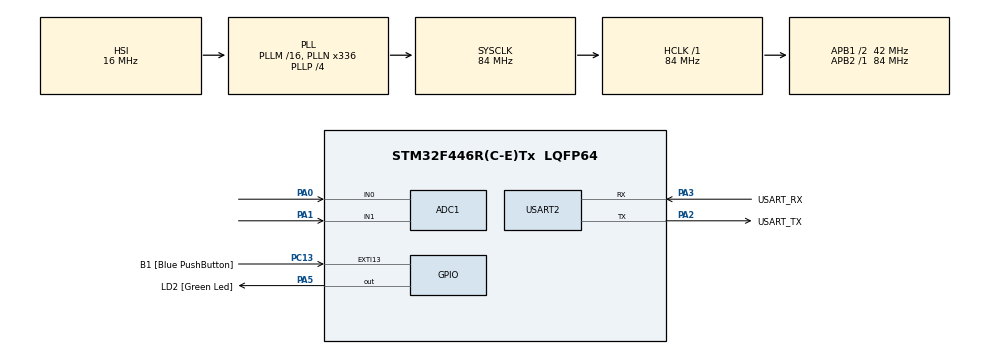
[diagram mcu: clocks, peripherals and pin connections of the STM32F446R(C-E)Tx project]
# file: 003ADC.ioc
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ADC1.Channel-0\#ChannelRegularConversion=ADC_CHANNEL_0
ADC1.Channel-1\#ChannelRegularConversion=ADC_CHANNEL_1
ADC1.ContinuousConvMode=ENABLE
ADC1.NbrOfConversion=2
ADC1.NbrOfConversionFlag=1
ADC1.Rank-0\#ChannelRegularConversion=1
ADC1.Rank-1\#ChannelRegularConversion=2
ADC1.SamplingTime-0\#ChannelRegularConversion=ADC_SAMPLETIME_3CYCLES
ADC1.SamplingTime-1\#ChannelRegularConversion=ADC_SAMPLETIME_3CYCLES
ADC1.ScanConvMode=ENABLE
ADC1.master=1
Dma.ADC1.0.Direction=DMA_PERIPH_TO_MEMORY
Dma.ADC1.0.FIFOMode=DMA_FIFOMODE_DISABLE
Dma.ADC1.0.Instance=DMA2_Stream0
Dma.ADC1.0.MemDataAlignment=DMA_MDATAALIGN_WORD
Dma.ADC1.0.MemInc=DMA_MINC_ENABLE
Dma.ADC1.0.Mode=DMA_CIRCULAR
Dma.ADC1.0.PeriphDataAlignment=DMA_PDATAALIGN_WORD
Dma.ADC1.0.PeriphInc=DMA_PINC_DISABLE
Dma.ADC1.0.Priority=DMA_PRIORITY_LOW
Dma.Request0=ADC1
Mcu.Family=STM32F4
Mcu.Name=STM32F446R(C-E)Tx
Mcu.Package=LQFP64
NVIC.DMA2_Stream0_IRQn=true\:0\:0\:false\:false\:true\:false\:true
NVIC.PriorityGroup=NVIC_PRIORITYGROUP_0
PA0-WKUP.Signal=ADCx_IN0
PA1.Signal=ADCx_IN1
PA13.GPIO_Label=TMS
PA13.Mode=Serial_Wire
PA13.Signal=SYS_JTMS-SWDIO
PA14.GPIO_Label=TCK
PA14.Mode=Serial_Wire
PA14.Signal=SYS_JTCK-SWCLK
PA2.GPIO_Label=USART_TX
PA2.Mode=Asynchronous
PA2.Signal=USART2_TX
PA3.GPIO_Label=USART_RX
PA3.Mode=Asynchronous
PA3.Signal=USART2_RX
PA5.GPIO_Label=LD2 [Green Led]
PA5.Signal=GPIO_Output
PB3.GPIO_Label=SWO
PB3.Signal=SYS_JTDO-SWO
PC13.GPIO_Label=B1 [Blue PushButton]
PC13.GPIO_ModeDefaultEXTI=GPIO_MODE_IT_FALLING
PC13.Signal=GPXTI13
PC14-OSC32_IN.Mode=LSE-External-Oscillator
PC14-OSC32_IN.Signal=RCC_OSC32_IN
PC15-OSC32_OUT.Mode=LSE-External-Oscillator
PC15-OSC32_OUT.Signal=RCC_OSC32_OUT
PH0-OSC_IN.Mode=HSE-External-Oscillator
PH0-OSC_IN.Signal=RCC_OSC_IN
PH1-OSC_OUT.Mode=HSE-External-Oscillator
PH1-OSC_OUT.Signal=RCC_OSC_OUT
ProjectManager.HeapSize=0x200
ProjectManager.StackSize=0x400
ProjectManager.TargetToolchain=SW4STM32
RCC.48MHZClocksFreq_Value=84000000
RCC.AHBFreq_Value=84000000
RCC.APB1CLKDivider=RCC_HCLK_DIV2
RCC.APB1Freq_Value=42000000
RCC.APB1TimFreq_Value=84000000
RCC.APB2Freq_Value=84000000
RCC.APB2TimFreq_Value=84000000
RCC.CortexFreq_Value=84000000
RCC.FLatency-AdvancedSettings=FLASH_LATENCY_2
RCC.HCLKFreq_Value=84000000
RCC.HSE_VALUE=8000000
RCC.HSI_VALUE=16000000
RCC.PLLN=336
RCC.PLLP=RCC_PLLP_DIV4
RCC.SYSCLKFreq_VALUE=84000000
RCC.SYSCLKSource=RCC_SYSCLKSOURCE_PLLCLK
RCC.USBFreq_Value=168000000
RCC.VCOOutputFreq_Value=336000000
SH.ADCx_IN0.0=ADC1_IN0,IN0
SH.ADCx_IN1.0=ADC1_IN1,IN1
USART2.VirtualMode=VM_ASYNC
board=NUCLEO-F446RE

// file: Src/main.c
/* USER CODE BEGIN Header */
/**
  ******************************************************************************
  * @file           : main.c
  * @brief          : Main program body
  ******************************************************************************
  * @attention
  *
  * <h2><center>&copy; Copyright (c) 2019 STMicroelectronics.
  * All rights reserved.</center></h2>
  *
  * This software component is licensed by ST under BSD 3-Clause license,
  * the "License"; You may not use this file except in compliance with the
  * License. You may obtain a copy of the License at:
  *                        opensource.org/licenses/BSD-3-Clause
  *
  ******************************************************************************
  */
/* USER CODE END Header */

#include "main.h"

ADC_HandleTypeDef hadc1;
DMA_HandleTypeDef hdma_adc1;

UART_HandleTypeDef huart2;

void SystemClock_Config(void);
static void MX_GPIO_Init(void);
static void MX_DMA_Init(void);
static void MX_ADC1_Init(void);
static void MX_USART2_UART_Init(void);

uint8_t adc_value1,adc_value2, vol1,vol2;
uint32_t value[2];
int main(void)
{

  /* MCU Configuration--------------------------------------------------------*/

  /* Reset of all peripherals, Initializes the Flash interface and the Systick. */
  HAL_Init();

  /* Configure the system clock */
  SystemClock_Config();

  /* Initialize all configured peripherals */
  MX_GPIO_Init();
  MX_DMA_Init();
  MX_ADC1_Init();
  MX_USART2_UART_Init();

  /* Infinite loop */
  /* USER CODE BEGIN WHILE */

    HAL_ADC_Start(&hadc1);  //start polling mode

    HAL_ADC_Start_DMA (&hadc1, &value, 2); //start dma mode
  while (1)
  {
    /* USER CODE END WHILE */

    /* USER CODE BEGIN 3 */

	//polling mode

	HAL_ADC_PollForConversion (&hadc1, 100);
	adc_value1 = HAL_ADC_GetValue (&hadc1);

	HAL_ADC_PollForConversion (&hadc1, 100);
	adc_value2 = HAL_ADC_GetValue (&hadc1);

	vol1=adc_value1*(3.3/4095);
	vol2=adc_value2*(3.3/4095);

	HAL_Delay(100);

	HAL_UART_Transmit(&huart2,vol1,40,1);
	HAL_UART_Transmit(&huart2,vol2,40,1);

	//dma mode
	adc_value1=value[0];
	adc_value2=value[1];
	vol1=adc_value1*(3.3/4095);
	vol2=adc_value2*(3.3/4095);

  }
  /* USER CODE END 3 */
}

void SystemClock_Config(void)
{
  RCC_OscInitTypeDef RCC_OscInitStruct = {0};
  RCC_ClkInitTypeDef RCC_ClkInitStruct = {0};

  /** Configure the main internal regulator output voltage
  */
  __HAL_RCC_PWR_CLK_ENABLE();
  __HAL_PWR_VOLTAGESCALING_CONFIG(PWR_REGULATOR_VOLTAGE_SCALE3);
  /** Initializes the CPU, AHB and APB busses clocks
  */
  RCC_OscInitStruct.OscillatorType = RCC_OSCILLATORTYPE_HSI;
  RCC_OscInitStruct.HSIState = RCC_HSI_ON;
  RCC_OscInitStruct.HSICalibrationValue = RCC_HSICALIBRATION_DEFAULT;
  RCC_OscInitStruct.PLL.PLLState = RCC_PLL_ON;
  RCC_OscInitStruct.PLL.PLLSource = RCC_PLLSOURCE_HSI;
  RCC_OscInitStruct.PLL.PLLM = 16;
  RCC_OscInitStruct.PLL.PLLN = 336;
  RCC_OscInitStruct.PLL.PLLP = RCC_PLLP_DIV4;
  RCC_OscInitStruct.PLL.PLLQ = 2;
  RCC_OscInitStruct.PLL.PLLR = 2;
  if (HAL_RCC_OscConfig(&RCC_OscInitStruct) != HAL_OK)
  {
    Error_Handler();
  }
  /** Initializes the CPU, AHB and APB busses clocks
  */
  RCC_ClkInitStruct.ClockType = RCC_CLOCKTYPE_HCLK|RCC_CLOCKTYPE_SYSCLK
                              |RCC_CLOCKTYPE_PCLK1|RCC_CLOCKTYPE_PCLK2;
  RCC_ClkInitStruct.SYSCLKSource = RCC_SYSCLKSOURCE_PLLCLK;
  RCC_ClkInitStruct.AHBCLKDivider = RCC_SYSCLK_DIV1;
  RCC_ClkInitStruct.APB1CLKDivider = RCC_HCLK_DIV2;
  RCC_ClkInitStruct.APB2CLKDivider = RCC_HCLK_DIV1;

  if (HAL_RCC_ClockConfig(&RCC_ClkInitStruct, FLASH_LATENCY_2) != HAL_OK)
  {
    Error_Handler();
  }
}

static void MX_ADC1_Init(void)
{

  ADC_ChannelConfTypeDef sConfig = {0};

  /** Configure the global features of the ADC (Clock, Resolution, Data Alignment and number of conversion)
  */
  hadc1.Instance = ADC1;
  hadc1.Init.ClockPrescaler = ADC_CLOCK_SYNC_PCLK_DIV4;
  hadc1.Init.Resolution = ADC_RESOLUTION_12B;
  hadc1.Init.ScanConvMode = ENABLE;
  hadc1.Init.ContinuousConvMode = ENABLE;
  hadc1.Init.DiscontinuousConvMode = DISABLE;
  hadc1.Init.ExternalTrigConvEdge = ADC_EXTERNALTRIGCONVEDGE_NONE;
  hadc1.Init.ExternalTrigConv = ADC_SOFTWARE_START;
  hadc1.Init.DataAlign = ADC_DATAALIGN_RIGHT;
  hadc1.Init.NbrOfConversion = 2;
  hadc1.Init.DMAContinuousRequests = ENABLE;
  hadc1.Init.EOCSelection = ADC_EOC_SINGLE_CONV;
  if (HAL_ADC_Init(&hadc1) != HAL_OK)

  {
    Error_Handler();
  }
  /** Configure for the selected ADC regular channel its corresponding rank in the sequencer and its sample time.
  */
  sConfig.Channel = ADC_CHANNEL_0;
  sConfig.Rank = 1;
  sConfig.SamplingTime = ADC_SAMPLETIME_3CYCLES;
  if (HAL_ADC_ConfigChannel(&hadc1, &sConfig) != HAL_OK)
  {
    Error_Handler();
  }
  /** Configure for the selected ADC regular channel its corresponding rank in the sequencer and its sample time.
  */
  sConfig.Channel = ADC_CHANNEL_1;
  sConfig.Rank = 2;
  if (HAL_ADC_ConfigChannel(&hadc1, &sConfig) != HAL_OK)
  {
    Error_Handler();
  }

}

static void MX_USART2_UART_Init(void)
{

  huart2.Instance = USART2;
  huart2.Init.BaudRate = 115200;
  huart2.Init.WordLength = UART_WORDLENGTH_8B;
  huart2.Init.StopBits = UART_STOPBITS_1;
  huart2.Init.Parity = UART_PARITY_NONE;
  huart2.Init.Mode = UART_MODE_TX_RX;
  huart2.Init.HwFlowCtl = UART_HWCONTROL_NONE;
  huart2.Init.OverSampling = UART_OVERSAMPLING_16;
  if (HAL_UART_Init(&huart2) != HAL_OK)
  {
    Error_Handler();
  }

}

static void MX_DMA_Init(void)
{
  /* DMA controller clock enable */
  __HAL_RCC_DMA2_CLK_ENABLE();

  /* DMA interrupt init */
  /* DMA2_Stream0_IRQn interrupt configuration */
  HAL_NVIC_SetPriority(DMA2_Stream0_IRQn, 0, 0);
  HAL_NVIC_EnableIRQ(DMA2_Stream0_IRQn);

}

static void MX_GPIO_Init(void)
{
  GPIO_InitTypeDef GPIO_InitStruct = {0};

  /* GPIO Ports Clock Enable */
  __HAL_RCC_GPIOC_CLK_ENABLE();
  __HAL_RCC_GPIOH_CLK_ENABLE();
  __HAL_RCC_GPIOA_CLK_ENABLE();
  __HAL_RCC_GPIOB_CLK_ENABLE();

  /*Configure GPIO pin Output Level */
  HAL_GPIO_WritePin(LD2_GPIO_Port, LD2_Pin, GPIO_PIN_RESET);

  /*Configure GPIO pin : B1_Pin */
  GPIO_InitStruct.Pin = B1_Pin;
  GPIO_InitStruct.Mode = GPIO_MODE_IT_FALLING;
  GPIO_InitStruct.Pull = GPIO_NOPULL;
  HAL_GPIO_Init(B1_GPIO_Port, &GPIO_InitStruct);

  /*Configure GPIO pin : LD2_Pin */
  GPIO_InitStruct.Pin = LD2_Pin;
  GPIO_InitStruct.Mode = GPIO_MODE_OUTPUT_PP;
  GPIO_InitStruct.Pull = GPIO_NOPULL;
  GPIO_InitStruct.Speed = GPIO_SPEED_FREQ_LOW;
  HAL_GPIO_Init(LD2_GPIO_Port, &GPIO_InitStruct);

}

void Error_Handler(void)
{
}

/************************ (C) COPYRIGHT STMicroelectronics *****END OF FILE****/
